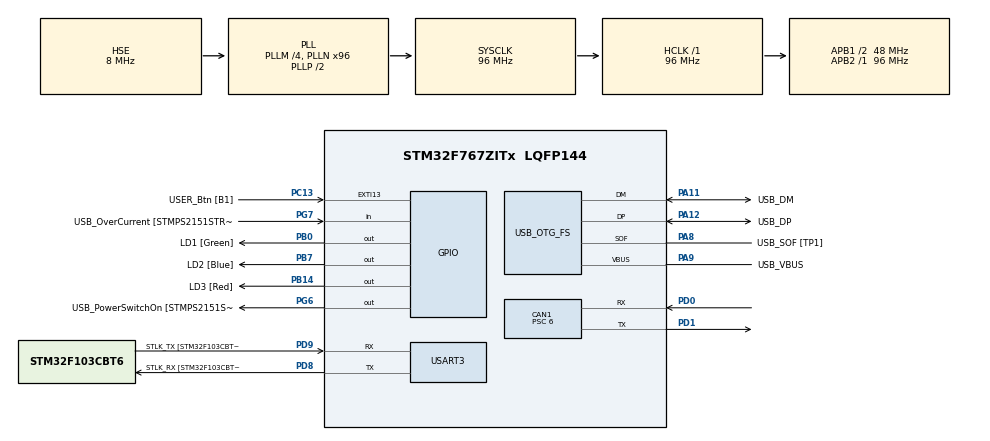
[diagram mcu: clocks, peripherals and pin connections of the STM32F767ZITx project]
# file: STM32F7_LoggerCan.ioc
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CAN1.ABOM=ENABLE
CAN1.BS1=CAN_BS1_12TQ
CAN1.BS2=CAN_BS2_3TQ
CAN1.CalculateBaudRate=500000
CAN1.CalculateTimeBit=2000
CAN1.CalculateTimeQuantum=125.0
CAN1.Mode=CAN_MODE_NORMAL
CAN1.NART=ENABLE
CAN1.Prescaler=6
FREERTOS.Tasks01=Task_CAN,40,512,StartTaskCAN,Default,NULL,Dynamic,NULL,NULL;Task_SendUSB,24,1024,StartTaskSendUSB,Default,NULL,Dynamic,NULL,NULL
FREERTOS.configCHECK_FOR_STACK_OVERFLOW=0
FREERTOS.configENABLE_FPU=1
FREERTOS.configMINIMAL_STACK_SIZE=128
FREERTOS.configTIMER_TASK_PRIORITY=5
FREERTOS.configUSE_NEWLIB_REENTRANT=1
Mcu.Family=STM32F7
Mcu.Name=STM32F767ZITx
Mcu.Package=LQFP144
NVIC.CAN1_RX0_IRQn=true\:5\:0\:false\:false\:true\:true\:true\:true\:true
NVIC.CAN1_RX1_IRQn=true\:5\:0\:false\:false\:true\:true\:true\:true\:true
NVIC.OTG_FS_IRQn=true\:5\:0\:false\:false\:true\:true\:false\:true\:true
NVIC.PriorityGroup=NVIC_PRIORITYGROUP_4
NVIC.TIM6_DAC_IRQn=true\:5\:0\:false\:false\:true\:true\:true\:true\:true
NVIC.TIM7_IRQn=true\:15\:0\:false\:false\:true\:false\:false\:true\:true
NVIC.TimeBase=TIM7_IRQn
NVIC.TimeBaseIP=TIM7
NVIC.USART3_IRQn=true\:5\:0\:false\:false\:true\:true\:true\:true\:true
PA11.GPIO_Label=USB_DM
PA11.Mode=Device_Only
PA11.Signal=USB_OTG_FS_DM
PA12.GPIO_Label=USB_DP
PA12.Mode=Device_Only
PA12.Signal=USB_OTG_FS_DP
PA13.GPIO_Label=TMS
PA13.Mode=Serial_Wire
PA13.Signal=SYS_JTMS-SWDIO
PA14.GPIO_Label=TCK
PA14.Mode=Serial_Wire
PA14.Signal=SYS_JTCK-SWCLK
PA8.GPIO_Label=USB_SOF [TP1]
PA8.Mode=Activate_SOF_FS
PA8.Signal=USB_OTG_FS_SOF
PA9.GPIO_Label=USB_VBUS
PA9.Mode=Activate_VBUS
PA9.Signal=USB_OTG_FS_VBUS
PB0.GPIO_Label=LD1 [Green]
PB0.Signal=GPIO_Output
PB14.GPIO_Label=LD3 [Red]
PB14.Signal=GPIO_Output
PB7.GPIO_Label=LD2 [Blue]
PB7.Signal=GPIO_Output
PC13.GPIO_Label=USER_Btn [B1]
PC13.Signal=GPXTI13
PC14/OSC32_IN.Mode=LSE-External-Oscillator
PC14/OSC32_IN.Signal=RCC_OSC32_IN
PC15/OSC32_OUT.Mode=LSE-External-Oscillator
PC15/OSC32_OUT.Signal=RCC_OSC32_OUT
PD0.Mode=CAN_Activate
PD0.Signal=CAN1_RX
PD1.Mode=CAN_Activate
PD1.Signal=CAN1_TX
PD8.GPIO_Label=STLK_RX [STM32F103CBT6_PA3]
PD8.Mode=Asynchronous
PD8.Signal=USART3_TX
PD9.GPIO_Label=STLK_TX [STM32F103CBT6_PA2]
PD9.Mode=Asynchronous
PD9.Signal=USART3_RX
PG6.GPIO_Label=USB_PowerSwitchOn [STMPS2151STR_EN]
PG6.Signal=GPIO_Output
PG7.GPIO_Label=USB_OverCurrent [STMPS2151STR_FAULT]
PG7.Signal=GPIO_Input
PH0/OSC_IN.GPIO_Label=MCO [STM32F103CBT6_PA8]
PH0/OSC_IN.Mode=HSE-External-Clock-Source
PH0/OSC_IN.Signal=RCC_OSC_IN
PH1/OSC_OUT.Mode=HSE-External-Clock-Source
PH1/OSC_OUT.Signal=RCC_OSC_OUT
ProjectManager.HeapSize=0x200
ProjectManager.StackSize=0x400
ProjectManager.TargetToolchain=STM32CubeIDE
RCC.48MHZClocksFreq_Value=24000000
RCC.AHBFreq_Value=96000000
RCC.APB1CLKDivider=RCC_HCLK_DIV2
RCC.APB1Freq_Value=48000000
RCC.APB1TimFreq_Value=96000000
RCC.APB2Freq_Value=96000000
RCC.APB2TimFreq_Value=96000000
RCC.CortexFreq_Value=96000000
RCC.HCLKFreq_Value=96000000
RCC.HSE_VALUE=8000000
RCC.HSI_VALUE=16000000
RCC.PLLM=4
RCC.PLLMUL=RCC_PLL_MUL9
RCC.PLLN=96
RCC.PLLQ=4
RCC.PRESCALERUSB=RCC_USBCLKSOURCE_PLL_DIV1_5
RCC.SYSCLKFreq_VALUE=96000000
RCC.SYSCLKSource=RCC_SYSCLKSOURCE_PLLCLK
RCC.SYSCLKSourceVirtual=RCC_SYSCLKSOURCE_PLLCLK
RCC.USBFreq_Value=48000000
RCC.VCOOutputFreq_Value=192000000
TIM6.Prescaler=959
USART3.VirtualMode-Asynchronous=VM_ASYNC
USB_DEVICE.CLASS_NAME_FS=CDC
USB_DEVICE.VirtualMode-CDC_FS=Cdc
USB_DEVICE.VirtualModeFS=Cdc_FS
USB_OTG_FS.VirtualMode=Device_Only
VP_FREERTOS_VS_CMSIS_V2.Mode=CMSIS_V2
VP_SYS_VS_tim7.Mode=TIM7
VP_TIM6_VS_ClockSourceINT.Mode=Enable_Timer
VP_USB_DEVICE_VS_USB_DEVICE_CDC_FS.Mode=CDC_FS
board=NUCLEO-F767ZI

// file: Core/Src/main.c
/* USER CODE BEGIN Header */
/**
  ******************************************************************************
  * @file           : main.c
  * @brief          : Main program body
  ******************************************************************************
  * @attention
  *
  * Copyright (c) 2025 STMicroelectronics.
  * All rights reserved.
  *
  * This software is licensed under terms that can be found in the LICENSE file
  * in the root directory of this software component.
  * If no LICENSE file comes with this software, it is provided AS-IS.
  *
  ******************************************************************************
  */
/* USER CODE END Header */
#include "main.h"
#include "cmsis_os.h"
#include "usb_device.h"

/* USER CODE BEGIN Includes */
#include "usbd_cdc_if.h"
#include "can_buffer.h"
#include "timer_utils.h"
#include "debug_utils.h"
/* USER CODE END Includes */

CAN_HandleTypeDef hcan1;

TIM_HandleTypeDef htim6;

UART_HandleTypeDef huart3;

/* Definitions for Task_CAN */
osThreadId_t Task_CANHandle;
const osThreadAttr_t Task_CAN_attributes = {
  .name = "Task_CAN",
  .stack_size = 512 * 4,
  .priority = (osPriority_t) osPriorityHigh,
};
/* Definitions for Task_SendUSB */
osThreadId_t Task_SendUSBHandle;
const osThreadAttr_t Task_SendUSB_attributes = {
  .name = "Task_SendUSB",
  .stack_size = 1024 * 4,
  .priority = (osPriority_t) osPriorityNormal,
};
/* USER CODE BEGIN PV */
osMessageQueueId_t usbQueueHandle;
CAN_FilterTypeDef canFilterFIFO0Config, canFilterFIFO1Config;

/* USER CODE END PV */

void SystemClock_Config(void);
static void MX_GPIO_Init(void);
static void MX_USART3_UART_Init(void);
static void MX_CAN1_Init(void);
static void MX_TIM6_Init(void);
void StartTaskCAN(void *argument);
void StartTaskSendUSB(void *argument);

int main(void)
{

  /* MCU Configuration--------------------------------------------------------*/

  /* Reset of all peripherals, Initializes the Flash interface and the Systick. */
  HAL_Init();

  /* Configure the system clock */
  SystemClock_Config();

  /* Initialize all configured peripherals */
  MX_GPIO_Init();
  MX_USART3_UART_Init();
  MX_CAN1_Init();
  MX_TIM6_Init();
  /* USER CODE BEGIN 2 */
  if (HAL_CAN_Start(&hcan1) != HAL_OK) {
  		printf("Errore nell'avvio del CAN\n");
  } else {
	  printf("CAN avviato correttamente\n");
  }
  HAL_CAN_ActivateNotification(&hcan1, CAN_IT_RX_FIFO0_MSG_PENDING);
  HAL_CAN_ActivateNotification(&hcan1, CAN_IT_RX_FIFO1_MSG_PENDING);
  TIM6_Init();
  /* USER CODE END 2 */

  /* Init scheduler */
  osKernelInitialize();

  /* USER CODE BEGIN RTOS_QUEUES */
  usbQueueHandle = osMessageQueueNew(CAN_BUFFER_SIZE, sizeof(CAN_Message), NULL);
  /* USER CODE END RTOS_QUEUES */

  /* Create the thread(s) */
  /* creation of Task_CAN */
  Task_CANHandle = osThreadNew(StartTaskCAN, NULL, &Task_CAN_attributes);

  /* creation of Task_SendUSB */
  Task_SendUSBHandle = osThreadNew(StartTaskSendUSB, NULL, &Task_SendUSB_attributes);

  /* Start scheduler */
  osKernelStart();

  /* We should never get here as control is now taken by the scheduler */

  /* Infinite loop */
  /* USER CODE BEGIN WHILE */
  while (1)
  {

	  ;/*if (HAL_GPIO_ReadPin(GPIOC, USER_Btn_Pin) == GPIO_PIN_SET) {
	      // Il pulsante è premuto (è attivo basso)
	      HAL_GPIO_TogglePin(GPIOB, LD1_Pin); // Cambia stato al LED
	      HAL_Delay(300); // Anti-rimbalzo per evitare cambi rapidi
	  }

	  char msg[] = "Hello from STM32!\r\n";
	  CDC_Transmit_FS((uint8_t*)msg, strlen(msg)); // Invia il messaggio via USB
	  HAL_Delay(1000); // Aspetta 1 secondo prima di inviare di nuovo*/

    /* USER CODE END WHILE */

  }
}

void SystemClock_Config(void)
{
  RCC_OscInitTypeDef RCC_OscInitStruct = {0};
  RCC_ClkInitTypeDef RCC_ClkInitStruct = {0};

  /** Configure LSE Drive Capability
  */
  HAL_PWR_EnableBkUpAccess();

  /** Configure the main internal regulator output voltage
  */
  __HAL_RCC_PWR_CLK_ENABLE();
  __HAL_PWR_VOLTAGESCALING_CONFIG(PWR_REGULATOR_VOLTAGE_SCALE3);

  /** Initializes the RCC Oscillators according to the specified parameters
  * in the RCC_OscInitTypeDef structure.
  */
  RCC_OscInitStruct.OscillatorType = RCC_OSCILLATORTYPE_HSE;
  RCC_OscInitStruct.HSEState = RCC_HSE_BYPASS;
  RCC_OscInitStruct.PLL.PLLState = RCC_PLL_ON;
  RCC_OscInitStruct.PLL.PLLSource = RCC_PLLSOURCE_HSE;
  RCC_OscInitStruct.PLL.PLLM = 4;
  RCC_OscInitStruct.PLL.PLLN = 96;
  RCC_OscInitStruct.PLL.PLLP = RCC_PLLP_DIV2;
  RCC_OscInitStruct.PLL.PLLQ = 4;
  RCC_OscInitStruct.PLL.PLLR = 2;
  if (HAL_RCC_OscConfig(&RCC_OscInitStruct) != HAL_OK)
  {
    Error_Handler();
  }

  /** Activate the Over-Drive mode
  */
  if (HAL_PWREx_EnableOverDrive() != HAL_OK)
  {
    Error_Handler();
  }

  /** Initializes the CPU, AHB and APB buses clocks
  */
  RCC_ClkInitStruct.ClockType = RCC_CLOCKTYPE_HCLK|RCC_CLOCKTYPE_SYSCLK
                              |RCC_CLOCKTYPE_PCLK1|RCC_CLOCKTYPE_PCLK2;
  RCC_ClkInitStruct.SYSCLKSource = RCC_SYSCLKSOURCE_PLLCLK;
  RCC_ClkInitStruct.AHBCLKDivider = RCC_SYSCLK_DIV1;
  RCC_ClkInitStruct.APB1CLKDivider = RCC_HCLK_DIV2;
  RCC_ClkInitStruct.APB2CLKDivider = RCC_HCLK_DIV1;

  if (HAL_RCC_ClockConfig(&RCC_ClkInitStruct, FLASH_LATENCY_3) != HAL_OK)
  {
    Error_Handler();
  }
}

static void MX_CAN1_Init(void)
{

  hcan1.Instance = CAN1;
  hcan1.Init.Prescaler = 6;
  hcan1.Init.Mode = CAN_MODE_NORMAL;
  hcan1.Init.SyncJumpWidth = CAN_SJW_1TQ;
  hcan1.Init.TimeSeg1 = CAN_BS1_12TQ;
  hcan1.Init.TimeSeg2 = CAN_BS2_3TQ;
  hcan1.Init.TimeTriggeredMode = DISABLE;
  hcan1.Init.AutoBusOff = ENABLE;
  hcan1.Init.AutoWakeUp = DISABLE;
  hcan1.Init.AutoRetransmission = ENABLE;
  hcan1.Init.ReceiveFifoLocked = DISABLE;
  hcan1.Init.TransmitFifoPriority = DISABLE;
  if (HAL_CAN_Init(&hcan1) != HAL_OK)
  {
    Error_Handler();
  }
  /* USER CODE BEGIN CAN1_Init 2 */

  canFilterFIFO0Config.FilterBank = 0;
  canFilterFIFO0Config.FilterMode = CAN_FILTERMODE_IDMASK;
  canFilterFIFO0Config.FilterScale = CAN_FILTERSCALE_32BIT;
  canFilterFIFO0Config.FilterIdHigh = 0x0000;
  canFilterFIFO0Config.FilterIdLow = 0x0000;
  canFilterFIFO0Config.FilterMaskIdHigh = (0x1 << 5); // Maschera: Controlla solo il bit LSB dell'ID
  canFilterFIFO0Config.FilterMaskIdLow = 0x0000;
  canFilterFIFO0Config.FilterFIFOAssignment = CAN_RX_FIFO0;
  canFilterFIFO0Config.FilterActivation = ENABLE;

  if (HAL_CAN_ConfigFilter(&hcan1, &canFilterFIFO0Config) != HAL_OK) {
      printf("Errore nella configurazione del filtro CAN!\n");
  }

  // Filtro per ID dispari → FIFO1
  canFilterFIFO1Config.FilterBank = 1;
  canFilterFIFO1Config.FilterMode = CAN_FILTERMODE_IDMASK;
  canFilterFIFO1Config.FilterScale = CAN_FILTERSCALE_32BIT;
  canFilterFIFO1Config.FilterIdHigh = (0x1 << 5);  // Qualsiasi ID dispari (bit meno significativo a 1)
  canFilterFIFO1Config.FilterIdLow = 0x0000;
  canFilterFIFO1Config.FilterMaskIdHigh = (0x1 << 5); // Maschera: Controlla solo il bit LSB dell'ID
  canFilterFIFO1Config.FilterMaskIdLow = 0x0000;
  canFilterFIFO1Config.FilterFIFOAssignment = CAN_RX_FIFO1;
  canFilterFIFO1Config.FilterActivation = ENABLE;

  if (HAL_CAN_ConfigFilter(&hcan1, &canFilterFIFO1Config) != HAL_OK) {
      printf("Errore nella configurazione del filtro CAN (FIFO1, ID dispari)!\n");
  }

  /* USER CODE END CAN1_Init 2 */

}

static void MX_TIM6_Init(void)
{

  TIM_MasterConfigTypeDef sMasterConfig = {0};

  htim6.Instance = TIM6;
  htim6.Init.Prescaler = 959;
  htim6.Init.CounterMode = TIM_COUNTERMODE_UP;
  htim6.Init.Period = 65535;
  htim6.Init.AutoReloadPreload = TIM_AUTORELOAD_PRELOAD_DISABLE;
  if (HAL_TIM_Base_Init(&htim6) != HAL_OK)
  {
    Error_Handler();
  }
  sMasterConfig.MasterOutputTrigger = TIM_TRGO_RESET;
  sMasterConfig.MasterSlaveMode = TIM_MASTERSLAVEMODE_DISABLE;
  if (HAL_TIMEx_MasterConfigSynchronization(&htim6, &sMasterConfig) != HAL_OK)
  {
    Error_Handler();
  }

}

static void MX_USART3_UART_Init(void)
{

  huart3.Instance = USART3;
  huart3.Init.BaudRate = 115200;
  huart3.Init.WordLength = UART_WORDLENGTH_8B;
  huart3.Init.StopBits = UART_STOPBITS_1;
  huart3.Init.Parity = UART_PARITY_NONE;
  huart3.Init.Mode = UART_MODE_TX_RX;
  huart3.Init.HwFlowCtl = UART_HWCONTROL_NONE;
  huart3.Init.OverSampling = UART_OVERSAMPLING_16;
  huart3.Init.OneBitSampling = UART_ONE_BIT_SAMPLE_DISABLE;
  huart3.AdvancedInit.AdvFeatureInit = UART_ADVFEATURE_NO_INIT;
  if (HAL_UART_Init(&huart3) != HAL_OK)
  {
    Error_Handler();
  }

}

static void MX_GPIO_Init(void)
{
  GPIO_InitTypeDef GPIO_InitStruct = {0};

  /* GPIO Ports Clock Enable */
  __HAL_RCC_GPIOC_CLK_ENABLE();
  __HAL_RCC_GPIOH_CLK_ENABLE();
  __HAL_RCC_GPIOB_CLK_ENABLE();
  __HAL_RCC_GPIOD_CLK_ENABLE();
  __HAL_RCC_GPIOG_CLK_ENABLE();
  __HAL_RCC_GPIOA_CLK_ENABLE();

  /*Configure GPIO pin Output Level */
  HAL_GPIO_WritePin(GPIOB, LD1_Pin|LD3_Pin|LD2_Pin, GPIO_PIN_RESET);

  /*Configure GPIO pin Output Level */
  HAL_GPIO_WritePin(USB_PowerSwitchOn_GPIO_Port, USB_PowerSwitchOn_Pin, GPIO_PIN_RESET);

  /*Configure GPIO pin : USER_Btn_Pin */
  GPIO_InitStruct.Pin = USER_Btn_Pin;
  GPIO_InitStruct.Mode = GPIO_MODE_IT_RISING;
  GPIO_InitStruct.Pull = GPIO_NOPULL;
  HAL_GPIO_Init(USER_Btn_GPIO_Port, &GPIO_InitStruct);

  /*Configure GPIO pins : LD1_Pin LD3_Pin LD2_Pin */
  GPIO_InitStruct.Pin = LD1_Pin|LD3_Pin|LD2_Pin;
  GPIO_InitStruct.Mode = GPIO_MODE_OUTPUT_PP;
  GPIO_InitStruct.Pull = GPIO_NOPULL;
  GPIO_InitStruct.Speed = GPIO_SPEED_FREQ_LOW;
  HAL_GPIO_Init(GPIOB, &GPIO_InitStruct);

  /*Configure GPIO pin : USB_PowerSwitchOn_Pin */
  GPIO_InitStruct.Pin = USB_PowerSwitchOn_Pin;
  GPIO_InitStruct.Mode = GPIO_MODE_OUTPUT_PP;
  GPIO_InitStruct.Pull = GPIO_NOPULL;
  GPIO_InitStruct.Speed = GPIO_SPEED_FREQ_LOW;
  HAL_GPIO_Init(USB_PowerSwitchOn_GPIO_Port, &GPIO_InitStruct);

  /*Configure GPIO pin : USB_OverCurrent_Pin */
  GPIO_InitStruct.Pin = USB_OverCurrent_Pin;
  GPIO_InitStruct.Mode = GPIO_MODE_INPUT;
  GPIO_InitStruct.Pull = GPIO_NOPULL;
  HAL_GPIO_Init(USB_OverCurrent_GPIO_Port, &GPIO_InitStruct);

}

void StartTaskCAN(void *argument)
{
  /* init code for USB_DEVICE */
  MX_USB_DEVICE_Init();
  /* USER CODE BEGIN 5 */
  CAN_Message msg;
  /* Infinite loop */
  for(;;)
  {
	  while (buffer_has_data()) {  // Finché ci sono messaggi nel buffer CAN
		  buffer_read(&msg);  // Leggiamo un messaggio dal buffer circolare
		  osMessageQueuePut(usbQueueHandle, &msg, 0, 0);  // Lo inviamo alla coda FreeRTOS
	  }
	  HAL_GPIO_TogglePin(GPIOB, LD1_Pin); // Cambia stato al LED
	  //test_can_transmit(&hcan1);
	  //test_can_loopback(&hcan1);
	  //Print_Report();
	  //uint32_t timestamp = get_timestamp_10us();
	  //printf("Timestamp: %d\n", timestamp);
	  print_error_cnt();
    osDelay(1);
  }
  /* USER CODE END 5 */
}

void StartTaskSendUSB(void *argument)
{
  /* USER CODE BEGIN StartTaskSendUSB */
	CAN_Message msg;
  /* Infinite loop */
  for(;;)
  {
	  /*while (osMessageQueueGet(usbQueueHandle, &msg, NULL, osWaitForever) == osOK) {
		  print_canMsg(&msg); // Stampa il messaggio via UART
	  }*/
	osDelay(10); // Piccolo delay per non intasare la seriale
  }
  /* USER CODE END StartTaskSendUSB */
}

void HAL_TIM_PeriodElapsedCallback(TIM_HandleTypeDef *htim)
{
  if (htim->Instance == TIM7)
  {
    HAL_IncTick();
  }
  /* USER CODE BEGIN Callback 1 */
  if (htim->Instance == TIM6)
  {
	  set_timestamp();
  }
  /* USER CODE END Callback 1 */
}

void Error_Handler(void)
{
  __disable_irq();
  while (1)
  {
  }
}
